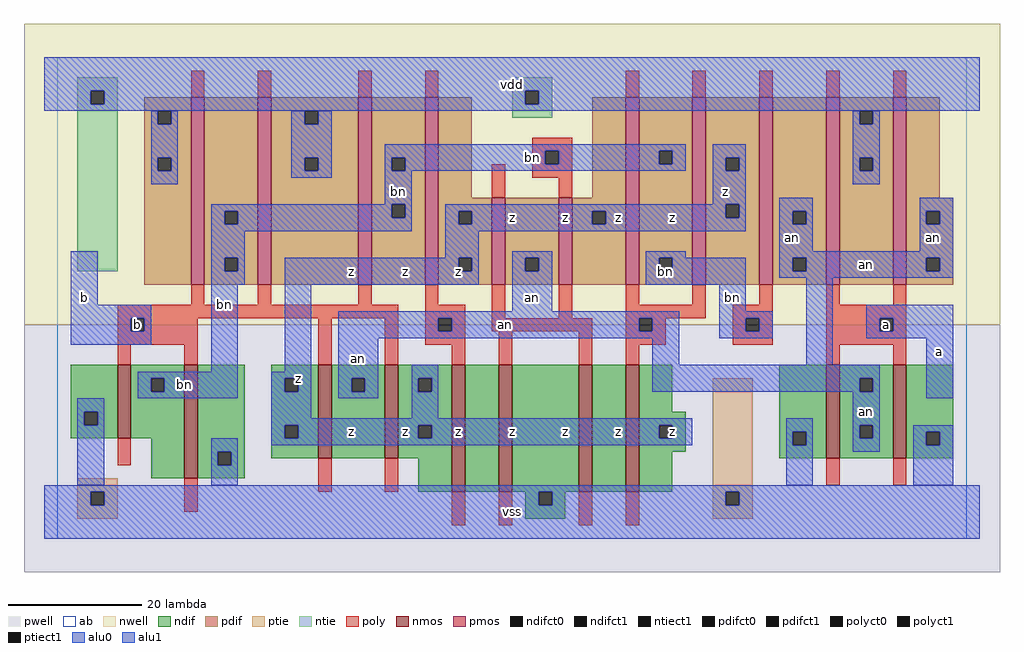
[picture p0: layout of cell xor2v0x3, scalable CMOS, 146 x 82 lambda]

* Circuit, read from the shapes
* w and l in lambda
.subckt xor2v0x3 a an b bn vdd vss z
M1 bn b vss vss nfet w=11 l=2
M2 vss b bn vss nfet w=17 l=2
M3 an b z vss nfet w=14 l=2 m=2
M4 n1 an z vss nfet w=19 l=2
M5 vss bn n1 vss nfet w=19 l=2
M6 n2 bn vss vss nfet w=19 l=2
M7 z an n2 vss nfet w=19 l=2
M8 an a vss vss nfet w=14 l=2 m=2
M9 bn b vdd vdd pfet w=28 l=2 m=3
M10 z an bn vdd pfet w=28 l=2 m=3
M11 an bn z vdd pfet w=13 l=2 m=2
M12 an bn z vdd pfet w=28 l=2
M13 vdd a an vdd pfet w=28 l=2 m=2
.ends

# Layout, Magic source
magic
tech scmos
<< ab >>
rect 0 0 136 72
<< nwell >>
rect -5 32 141 77
<< pwell >>
rect -5 -5 141 32
<< poly >>
rect 20 66 22 70
rect 30 66 32 70
rect 45 66 47 70
rect 55 66 57 70
rect 85 66 87 70
rect 95 66 97 70
rect 105 66 107 70
rect 115 66 117 70
rect 125 66 127 70
rect 71 58 77 60
rect 71 56 73 58
rect 75 56 77 58
rect 65 51 67 56
rect 71 54 77 56
rect 75 51 77 54
rect 20 35 22 38
rect 30 35 32 38
rect 45 35 47 38
rect 55 35 57 38
rect 9 33 51 35
rect 9 31 11 33
rect 13 31 21 33
rect 9 29 21 31
rect 9 26 11 29
rect 19 26 21 29
rect 39 26 41 33
rect 49 26 51 33
rect 55 33 61 35
rect 55 31 57 33
rect 59 31 61 33
rect 65 33 67 38
rect 75 33 77 38
rect 85 35 87 38
rect 95 35 97 38
rect 105 35 107 38
rect 85 33 97 35
rect 101 33 107 35
rect 65 31 80 33
rect 55 29 61 31
rect 59 26 61 29
rect 66 26 68 31
rect 78 26 80 31
rect 85 31 87 33
rect 89 31 91 33
rect 85 29 91 31
rect 101 31 103 33
rect 105 31 107 33
rect 101 29 107 31
rect 115 35 117 38
rect 125 35 127 38
rect 115 33 127 35
rect 115 31 123 33
rect 125 31 127 33
rect 115 29 127 31
rect 85 26 87 29
rect 115 26 117 29
rect 125 26 127 29
rect 9 11 11 15
rect 19 4 21 9
rect 39 7 41 12
rect 49 7 51 12
rect 115 8 117 12
rect 125 8 127 12
rect 59 2 61 7
rect 66 2 68 7
rect 78 2 80 7
rect 85 2 87 7
<< ndif >>
rect 2 19 9 26
rect 2 17 4 19
rect 6 17 9 19
rect 2 15 9 17
rect 11 24 19 26
rect 11 22 14 24
rect 16 22 19 24
rect 11 15 19 22
rect 14 9 19 15
rect 21 13 28 26
rect 21 11 24 13
rect 26 11 28 13
rect 32 24 39 26
rect 32 22 34 24
rect 36 22 39 24
rect 32 17 39 22
rect 32 15 34 17
rect 36 15 39 17
rect 32 12 39 15
rect 41 24 49 26
rect 41 22 44 24
rect 46 22 49 24
rect 41 12 49 22
rect 51 24 59 26
rect 51 22 54 24
rect 56 22 59 24
rect 51 17 59 22
rect 51 15 54 17
rect 56 15 59 17
rect 51 12 59 15
rect 21 9 28 11
rect 54 7 59 12
rect 61 7 66 26
rect 68 7 78 26
rect 80 7 85 26
rect 87 19 92 26
rect 87 17 94 19
rect 87 15 90 17
rect 92 15 94 17
rect 87 13 94 15
rect 87 7 92 13
rect 108 16 115 26
rect 108 14 110 16
rect 112 14 115 16
rect 108 12 115 14
rect 117 24 125 26
rect 117 22 120 24
rect 122 22 125 24
rect 117 17 125 22
rect 117 15 120 17
rect 122 15 125 17
rect 117 12 125 15
rect 127 16 134 26
rect 127 14 130 16
rect 132 14 134 16
rect 127 12 134 14
rect 70 5 72 7
rect 74 5 76 7
rect 70 3 76 5
<< pdif >>
rect 13 64 20 66
rect 13 62 15 64
rect 17 62 20 64
rect 13 57 20 62
rect 13 55 15 57
rect 17 55 20 57
rect 13 38 20 55
rect 22 49 30 66
rect 22 47 25 49
rect 27 47 30 49
rect 22 42 30 47
rect 22 40 25 42
rect 27 40 30 42
rect 22 38 30 40
rect 32 64 45 66
rect 32 62 37 64
rect 39 62 45 64
rect 32 57 45 62
rect 32 55 37 57
rect 39 55 45 57
rect 32 38 45 55
rect 47 57 55 66
rect 47 55 50 57
rect 52 55 55 57
rect 47 50 55 55
rect 47 48 50 50
rect 52 48 55 50
rect 47 38 55 48
rect 57 51 62 66
rect 80 51 85 66
rect 57 49 65 51
rect 57 47 60 49
rect 62 47 65 49
rect 57 42 65 47
rect 57 40 60 42
rect 62 40 65 42
rect 57 38 65 40
rect 67 42 75 51
rect 67 40 70 42
rect 72 40 75 42
rect 67 38 75 40
rect 77 49 85 51
rect 77 47 80 49
rect 82 47 85 49
rect 77 38 85 47
rect 87 58 95 66
rect 87 56 90 58
rect 92 56 95 58
rect 87 42 95 56
rect 87 40 90 42
rect 92 40 95 42
rect 87 38 95 40
rect 97 57 105 66
rect 97 55 100 57
rect 102 55 105 57
rect 97 50 105 55
rect 97 48 100 50
rect 102 48 105 50
rect 97 38 105 48
rect 107 49 115 66
rect 107 47 110 49
rect 112 47 115 49
rect 107 42 115 47
rect 107 40 110 42
rect 112 40 115 42
rect 107 38 115 40
rect 117 64 125 66
rect 117 62 120 64
rect 122 62 125 64
rect 117 57 125 62
rect 117 55 120 57
rect 122 55 125 57
rect 117 38 125 55
rect 127 51 132 66
rect 127 49 134 51
rect 127 47 130 49
rect 132 47 134 49
rect 127 42 134 47
rect 127 40 130 42
rect 132 40 134 42
rect 127 38 134 40
<< alu1 >>
rect -2 67 138 72
rect -2 65 5 67
rect 7 65 70 67
rect 72 65 138 67
rect -2 64 138 65
rect 98 57 103 59
rect 98 55 100 57
rect 102 55 103 57
rect 98 50 103 55
rect 58 49 100 50
rect 58 47 60 49
rect 62 47 80 49
rect 82 48 100 49
rect 102 48 103 50
rect 82 47 103 48
rect 58 46 103 47
rect 2 35 6 43
rect 58 42 63 46
rect 34 40 60 42
rect 62 40 63 42
rect 34 38 63 40
rect 2 33 14 35
rect 2 31 11 33
rect 13 31 14 33
rect 2 29 14 31
rect 34 25 38 38
rect 32 24 38 25
rect 32 22 34 24
rect 36 22 38 24
rect 32 18 38 22
rect 121 33 134 35
rect 121 31 123 33
rect 125 31 134 33
rect 121 30 134 31
rect 53 24 57 26
rect 53 22 54 24
rect 56 22 57 24
rect 53 18 57 22
rect 32 17 95 18
rect 32 15 34 17
rect 36 15 54 17
rect 56 15 90 17
rect 92 15 95 17
rect 32 14 95 15
rect 130 21 134 30
rect -2 7 138 8
rect -2 5 5 7
rect 7 5 72 7
rect 74 5 100 7
rect 102 5 138 7
rect -2 0 138 5
<< ptie >>
rect 3 7 9 9
rect 3 5 5 7
rect 7 5 9 7
rect 3 3 9 5
rect 98 7 104 24
rect 98 5 100 7
rect 102 5 104 7
rect 98 3 104 5
<< ntie >>
rect 3 67 9 69
rect 3 65 5 67
rect 7 65 9 67
rect 68 67 74 69
rect 3 40 9 65
rect 68 65 70 67
rect 72 65 74 67
rect 68 63 74 65
<< nmos >>
rect 9 15 11 26
rect 19 9 21 26
rect 39 12 41 26
rect 49 12 51 26
rect 59 7 61 26
rect 66 7 68 26
rect 78 7 80 26
rect 85 7 87 26
rect 115 12 117 26
rect 125 12 127 26
<< pmos >>
rect 20 38 22 66
rect 30 38 32 66
rect 45 38 47 66
rect 55 38 57 66
rect 65 38 67 51
rect 75 38 77 51
rect 85 38 87 66
rect 95 38 97 66
rect 105 38 107 66
rect 115 38 117 66
rect 125 38 127 66
<< polyct0 >>
rect 73 56 75 58
rect 57 31 59 33
rect 87 31 89 33
rect 103 31 105 33
<< polyct1 >>
rect 11 31 13 33
rect 123 31 125 33
<< ndifct0 >>
rect 4 17 6 19
rect 14 22 16 24
rect 24 11 26 13
rect 44 22 46 24
rect 110 14 112 16
rect 120 22 122 24
rect 120 15 122 17
rect 130 14 132 16
<< ndifct1 >>
rect 34 22 36 24
rect 34 15 36 17
rect 54 22 56 24
rect 54 15 56 17
rect 90 15 92 17
rect 72 5 74 7
<< ntiect1 >>
rect 5 65 7 67
rect 70 65 72 67
<< ptiect1 >>
rect 5 5 7 7
rect 100 5 102 7
<< pdifct0 >>
rect 15 62 17 64
rect 15 55 17 57
rect 25 47 27 49
rect 25 40 27 42
rect 37 62 39 64
rect 37 55 39 57
rect 50 55 52 57
rect 50 48 52 50
rect 70 40 72 42
rect 90 56 92 58
rect 90 40 92 42
rect 110 47 112 49
rect 110 40 112 42
rect 120 62 122 64
rect 120 55 122 57
rect 130 47 132 49
rect 130 40 132 42
<< pdifct1 >>
rect 60 47 62 49
rect 60 40 62 42
rect 80 47 82 49
rect 100 55 102 57
rect 100 48 102 50
<< alu0 >>
rect 14 62 15 64
rect 17 62 18 64
rect 14 57 18 62
rect 14 55 15 57
rect 17 55 18 57
rect 14 53 18 55
rect 35 62 37 64
rect 39 62 41 64
rect 35 57 41 62
rect 119 62 120 64
rect 122 62 123 64
rect 35 55 37 57
rect 39 55 41 57
rect 35 54 41 55
rect 49 58 94 59
rect 49 57 73 58
rect 49 55 50 57
rect 52 56 73 57
rect 75 56 90 58
rect 92 56 94 58
rect 52 55 94 56
rect 49 50 53 55
rect 119 57 123 62
rect 119 55 120 57
rect 122 55 123 57
rect 119 53 123 55
rect 23 49 50 50
rect 23 47 25 49
rect 27 48 50 49
rect 52 48 53 50
rect 27 47 53 48
rect 23 46 53 47
rect 108 49 113 51
rect 108 47 110 49
rect 112 47 113 49
rect 23 42 28 46
rect 108 43 113 47
rect 129 49 134 51
rect 129 47 130 49
rect 132 47 134 49
rect 129 43 134 47
rect 23 40 25 42
rect 27 40 28 42
rect 23 38 28 40
rect 68 42 74 43
rect 68 40 70 42
rect 72 40 74 42
rect 23 25 27 38
rect 68 34 74 40
rect 88 42 94 43
rect 108 42 134 43
rect 88 40 90 42
rect 92 40 103 42
rect 88 38 103 40
rect 108 40 110 42
rect 112 40 130 42
rect 132 40 134 42
rect 108 39 134 40
rect 99 34 103 38
rect 12 24 27 25
rect 12 22 14 24
rect 16 22 27 24
rect 12 21 27 22
rect 3 19 7 21
rect 3 17 4 19
rect 6 17 7 19
rect 3 8 7 17
rect 42 33 93 34
rect 42 31 57 33
rect 59 31 87 33
rect 89 31 93 33
rect 42 30 93 31
rect 99 33 107 34
rect 99 31 103 33
rect 105 31 107 33
rect 99 30 107 31
rect 42 24 48 30
rect 89 26 93 30
rect 112 26 116 39
rect 42 22 44 24
rect 46 22 48 24
rect 42 21 48 22
rect 89 24 123 26
rect 89 22 120 24
rect 122 22 123 24
rect 23 13 27 15
rect 109 16 113 18
rect 109 14 110 16
rect 112 14 113 16
rect 23 11 24 13
rect 26 11 27 13
rect 23 8 27 11
rect 109 8 113 14
rect 119 17 123 22
rect 119 15 120 17
rect 122 15 123 17
rect 119 13 123 15
rect 128 16 134 17
rect 128 14 130 16
rect 132 14 134 16
rect 128 8 134 14
<< labels >>
rlabel alu0 19 23 19 23 6 bn
rlabel alu0 25 35 25 35 6 bn
rlabel alu0 45 27 45 27 6 an
rlabel alu0 51 52 51 52 6 bn
rlabel alu0 67 32 67 32 6 an
rlabel alu0 91 40 91 40 6 bn
rlabel alu0 71 36 71 36 6 an
rlabel alu0 71 57 71 57 6 bn
rlabel alu0 121 19 121 19 6 an
rlabel alu0 101 36 101 36 6 bn
rlabel alu0 131 45 131 45 6 an
rlabel alu0 110 45 110 45 6 an
rlabel alu0 121 41 121 41 6 an
rlabel polyct1 12 32 12 32 6 b
rlabel alu1 4 36 4 36 6 b
rlabel alu1 44 16 44 16 6 z
rlabel alu1 60 16 60 16 6 z
rlabel alu1 52 16 52 16 6 z
rlabel alu1 36 24 36 24 6 z
rlabel alu1 44 40 44 40 6 z
rlabel alu1 52 40 52 40 6 z
rlabel alu1 60 40 60 40 6 z
rlabel alu1 68 4 68 4 6 vss
rlabel alu1 76 16 76 16 6 z
rlabel alu1 92 16 92 16 6 z
rlabel alu1 84 16 84 16 6 z
rlabel alu1 68 16 68 16 6 z
rlabel alu1 68 48 68 48 6 z
rlabel alu1 100 52 100 52 6 z
rlabel alu1 92 48 92 48 6 z
rlabel alu1 84 48 84 48 6 z
rlabel alu1 76 48 76 48 6 z
rlabel alu1 68 68 68 68 6 vdd
rlabel polyct1 124 32 124 32 6 a
rlabel alu1 132 28 132 28 6 a
<< end >>
